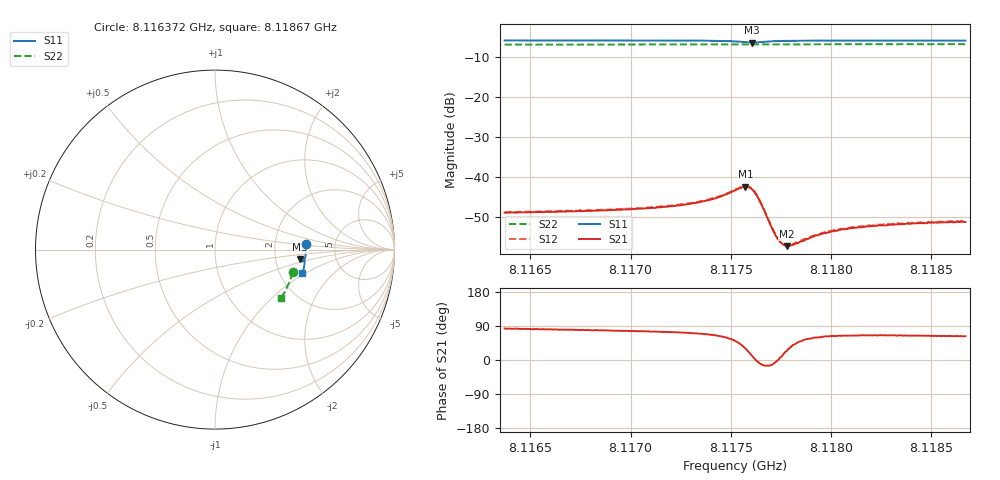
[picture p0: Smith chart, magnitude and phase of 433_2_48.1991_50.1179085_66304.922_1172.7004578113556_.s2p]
#  HZ  S  RI  R  50.00
! Rohde & Schwarz Vector Network Analyzer
! Rohde-Schwarz,ZNB20-2Port,1311601062101988,3.16
! Created: UTC 3/20/2024, 11:55:31 AM
! freq[Hz]  re:S11  im:S11  re:S21  im:S21  re:S12  im:S12  re:S22  im:S22
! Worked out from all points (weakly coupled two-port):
!   401 points, 8.116372 GHz to 8.11867 GHz, reference 50 ohm
!   highest |S21| = -42.47 dB at 8.117572 GHz (marker M1); lowest = -57.3 dB at 8.117779 GHz (marker M2)
!   lowest |S11| = -6.4 dB at 8.117607 GHz (marker M3), VSWR 2.83, Z = 138 - j19.4 ohm
!   |S11| at or under -10 dB: nowhere
!   |S22| runs from -6.9 to -6.8 dB; largest |S21 - S12| = 0.00021
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8.1163717e9  0.5062 0.0309  0.00042 0.00354  0.000492 0.00358  0.4319 -0.1265
8.1167566e9  0.5066 0.00165  0.000698 0.00366  0.000784 0.0037  0.4243 -0.152
8.1171416e9  0.5048 -0.0286  0.00112 0.00402  0.00116 0.00407  0.4156 -0.1774
8.1172679e9  0.5035 -0.0394  0.0014 0.00428  0.00144 0.00436  0.4123 -0.1858
8.1173714e9  0.5012 -0.049  0.00186 0.00463  0.00192 0.00472  0.4095 -0.1924
8.1174403e9  0.4981 -0.0562  0.00251 0.00498  0.00257 0.0051  0.4074 -0.197
8.1175207e9  0.4895 -0.0644  0.0043 0.00524  0.00441 0.00528  0.4047 -0.2022
8.1175724e9  0.4782 -0.0634  0.00648 0.00384  0.00662 0.00384  0.4029 -0.2051
8.1175897e9  0.4752 -0.0594  0.00692 0.00262  0.0071 0.00263  0.4023 -0.2059
8.1176069e9  0.4745 -0.0543  0.00682 0.00123  0.00698 0.00122  0.4019 -0.2066
8.1176241e9  0.4767 -0.0494  0.0061 -4e-06  0.00625 -3.44e-05  0.4015 -0.2075
8.1176414e9  0.4807 -0.0466  0.00508 -0.00069  0.00522 -0.000752  0.4012 -0.2084
8.1177046e9  0.4935 -0.0504  0.00223 -0.000482  0.00234 -0.000508  0.3999 -0.2126
8.1177276e9  0.4957 -0.0534  0.00178 -0.000106  0.0018 -0.000154  0.3993 -0.2142
8.1177563e9  0.4974 -0.0571  0.00143 0.00029  0.00145 0.000272  0.3985 -0.2161
8.1177793e9  0.4982 -0.06  0.00124 0.000555  0.00129 0.000553  0.3978 -0.2176
8.1178252e9  0.4989 -0.0652  0.00106 0.00101  0.0011 0.00105  0.3964 -0.2205
8.1179057e9  0.499 -0.0733  0.000967 0.0015  0.00101 0.00151  0.3937 -0.2257
8.1180493e9  0.4977 -0.0859  0.000978 0.00197  0.001 0.002  0.3891 -0.2347
8.1181814e9  0.4958 -0.0966  0.00101 0.00217  0.00104 0.00221  0.3844 -0.2427
8.1182906e9  0.4941 -0.1048  0.00107 0.00227  0.00107 0.00233  0.3805 -0.2494
8.1186698e9  0.4871 -0.133  0.00125 0.00242  0.00129 0.00247  0.3662 -0.2718
